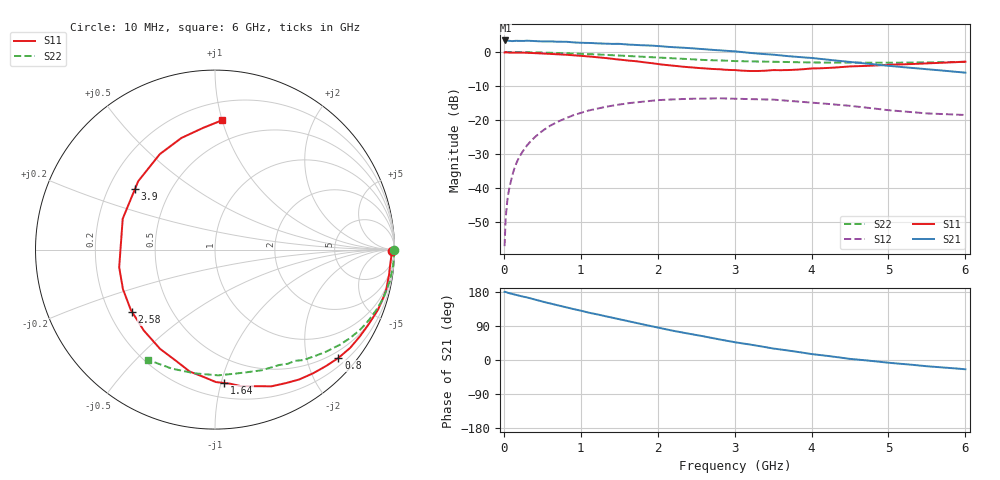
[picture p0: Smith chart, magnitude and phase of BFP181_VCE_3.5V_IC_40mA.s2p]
! Infineon Technologies  Discrete & RF Semiconductors
! BFP181
! VCE = 3.5 V,  IC =  40 mA
! Common Emitter S-Parameters:  Jan 2016
# GHz  S  MA  R  50
!  f  S11  S21  S12  S22
! GHz  MAG  ANG  MAG  ANG  MAG  ANG  MAG  ANG
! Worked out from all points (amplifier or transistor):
!   210 points, 10 MHz to 6 GHz, reference 50 ohm
!   highest |S21| = 3.4 dB at 20 MHz (marker M1)
!   |S21| within 3 dB of that: start of sweep to 2.86 GHz
!   unconditionally stable (mu >= 1): 3.756 GHz to end of sweep
!   at 185 MHz: K = 0.06, MSG = 17.4 dB, |S12| = -31.6 dB
!   at 1.52 GHz: K = 0.45, MSG = 8.9 dB, |S12| = -15.4 dB
!   at 6 GHz: K = 1.48, MAG = 2.1 dB, |S12| = -18.5 dB
!   S11 on the Smith chart (normalised r, x): 10 MHz: open; 800 MHz: 0.35, -2.61; 1.64 GHz: 0.31, -1.02; 2.58 GHz: 0.29, -0.31; 3.9 GHz: 0.31, +0.31; 6 GHz: 0.33, +1.00
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0.01  0.9837 -0.6  1.453 179.8  0.0014 82.3  0.9994 -0.2
0.02  0.9912 -1.0  1.479 179.8  0.0029 90.8  0.9994 -0.6
0.04  0.9856 -1.8  1.469 178.3  0.0058 91.2  0.9985 -1.1
0.075  0.9806 -3.7  1.454 176.2  0.0105 87.6  0.9982 -1.9
0.13  0.9796 -6.9  1.453 173.3  0.0184 84.2  0.9974 -3.3
0.2  0.9784 -10.3  1.459 169.7  0.0285 83.3  0.9966 -5.0
0.3  0.9753 -15.7  1.467 165.2  0.0422 78.8  0.9928 -7.7
0.45  0.9584 -23.2  1.439 156.8  0.0623 73.0  0.9863 -11.3
0.8  0.9149 -41.3  1.42 139.5  0.1057 60.1  0.9622 -19.9
1.02  0.8756 -52.7  1.366 129.2  0.1294 52.4  0.9416 -24.9
1.5  0.7765 -78.9  1.319 107.5  0.1691 36.6  0.8869 -35.1
1.64  0.7453 -86.0  1.283 101.4  0.178 32.6  0.871 -37.8
2.02  0.6617 -108.0  1.222 84.8  0.1966 22.1  0.8282 -44.5
2.24  0.6234 -121.4  1.17 75.6  0.2021 16.0  0.8033 -48.5
2.58  0.5779 -143.1  1.106 63.1  0.2061 8.1  0.7656 -54.0
3.1  0.5318 -175.2  0.996 44.0  0.2042 -3.6  0.732 -62.4
3.5  0.5422 161.5  0.915 30.4  0.1998 -11.2  0.7212 -68.8
3.9  0.5597 142.7  0.833 18.9  0.1846 -17.0  0.7047 -76.3
4.1  0.5764 134.5  0.795 13.4  0.1771 -19.7  0.7004 -80.3
4.5  0.6145 120.0  0.717 2.9  0.1618 -24.4  0.7009 -88.5
5.1  0.654 104.4  0.612 -8.9  0.1367 -25.3  0.698 -101.4
6  0.7209 87.0  0.497 -24.5  0.1187 -17.6  0.7189 -121.3
